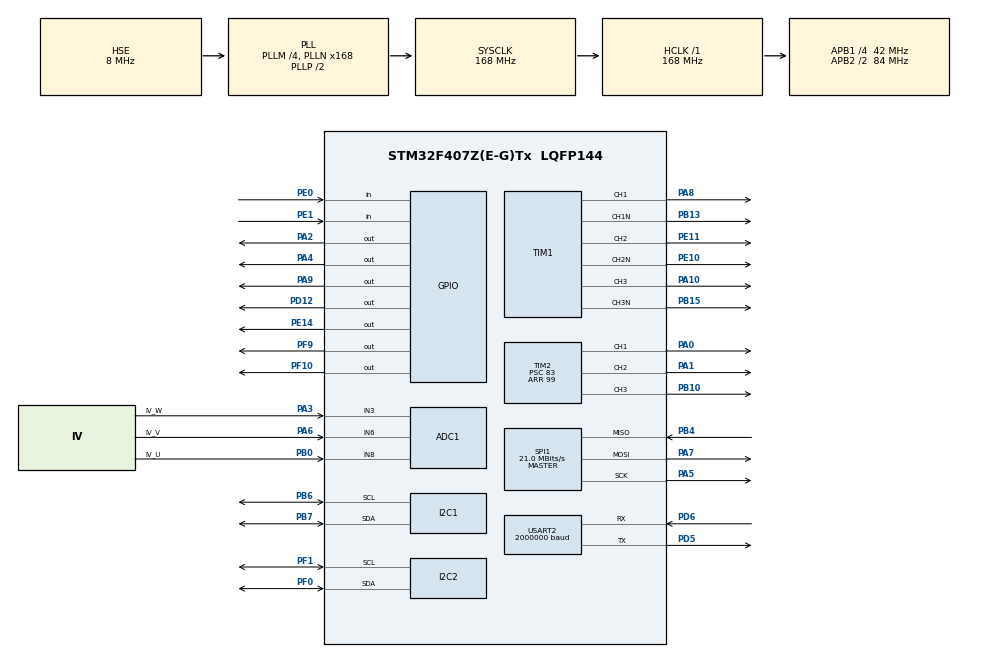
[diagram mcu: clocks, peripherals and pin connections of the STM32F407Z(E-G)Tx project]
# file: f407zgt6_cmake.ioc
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ADC1.Channel-0\#ChannelRegularConversion=ADC_CHANNEL_3
ADC1.Channel-10\#ChannelInjectedConversion=ADC_CHANNEL_3
ADC1.Channel-15\#ChannelInjectedConversion=ADC_CHANNEL_6
ADC1.Channel-16\#ChannelInjectedConversion=ADC_CHANNEL_8
ADC1.ClockPrescaler=ADC_CLOCK_SYNC_PCLK_DIV4
ADC1.DMAContinuousRequests=DISABLE
ADC1.DiscontinuousConvMode=DISABLE
ADC1.ExternalTrigConv=ADC_SOFTWARE_START
ADC1.ExternalTrigInjecConv=ADC_EXTERNALTRIGINJECCONV_T1_CC4
ADC1.ExternalTrigInjecConvEdge=ADC_EXTERNALTRIGINJECCONVEDGE_FALLING
ADC1.InjNumberOfConversion=3
ADC1.InjectedConvMode=None
ADC1.InjectedOffset-10\#ChannelInjectedConversion=0
ADC1.InjectedOffset-15\#ChannelInjectedConversion=0
ADC1.InjectedOffset-16\#ChannelInjectedConversion=0
ADC1.InjectedRank-10\#ChannelInjectedConversion=1
ADC1.InjectedRank-15\#ChannelInjectedConversion=2
ADC1.InjectedRank-16\#ChannelInjectedConversion=3
ADC1.NbrOfConversion=1
ADC1.NbrOfConversionFlag=1
ADC1.Rank-0\#ChannelRegularConversion=1
ADC1.SamplingTime-0\#ChannelRegularConversion=ADC_SAMPLETIME_3CYCLES
ADC1.SamplingTime-10\#ChannelInjectedConversion=ADC_SAMPLETIME_3CYCLES
ADC1.SamplingTime-15\#ChannelInjectedConversion=ADC_SAMPLETIME_3CYCLES
ADC1.SamplingTime-16\#ChannelInjectedConversion=ADC_SAMPLETIME_3CYCLES
ADC1.ScanConvMode=ENABLE
ADC1.master=1
Dma.Request0=USART2_TX
Dma.USART2_TX.0.Direction=DMA_MEMORY_TO_PERIPH
Dma.USART2_TX.0.FIFOMode=DMA_FIFOMODE_DISABLE
Dma.USART2_TX.0.Instance=DMA1_Stream6
Dma.USART2_TX.0.MemDataAlignment=DMA_MDATAALIGN_BYTE
Dma.USART2_TX.0.MemInc=DMA_MINC_ENABLE
Dma.USART2_TX.0.Mode=DMA_NORMAL
Dma.USART2_TX.0.PeriphDataAlignment=DMA_PDATAALIGN_BYTE
Dma.USART2_TX.0.PeriphInc=DMA_PINC_DISABLE
Dma.USART2_TX.0.Priority=DMA_PRIORITY_LOW
Mcu.Family=STM32F4
Mcu.Name=STM32F407Z(E-G)Tx
Mcu.Package=LQFP144
NVIC.ADC_IRQn=true\:0\:0\:false\:false\:true\:true\:true\:true
NVIC.DMA1_Stream6_IRQn=true\:0\:0\:false\:false\:true\:false\:true\:true
NVIC.PriorityGroup=NVIC_PRIORITYGROUP_4
NVIC.TIM1_BRK_TIM9_IRQn=true\:0\:0\:false\:false\:true\:true\:true\:true
NVIC.TIM1_CC_IRQn=true\:0\:0\:false\:false\:true\:true\:true\:true
NVIC.TIM1_TRG_COM_TIM11_IRQn=true\:0\:0\:false\:false\:true\:true\:true\:true
NVIC.TIM1_UP_TIM10_IRQn=true\:0\:0\:false\:false\:true\:true\:true\:true
NVIC.TIM2_IRQn=true\:0\:0\:false\:false\:true\:true\:true\:true
NVIC.TIM3_IRQn=true\:0\:0\:false\:false\:true\:true\:true\:true
NVIC.TIM8_BRK_TIM12_IRQn=true\:0\:0\:false\:false\:true\:true\:true\:true
NVIC.TIM8_CC_IRQn=true\:0\:0\:false\:false\:true\:true\:true\:true
NVIC.TIM8_TRG_COM_TIM14_IRQn=true\:0\:0\:false\:false\:true\:true\:true\:true
NVIC.TIM8_UP_TIM13_IRQn=true\:0\:0\:false\:false\:true\:true\:true\:true
NVIC.USART2_IRQn=true\:0\:0\:false\:false\:true\:true\:true\:true
PA0-WKUP.Signal=S_TIM2_CH1_ETR
PA1.Signal=S_TIM2_CH2
PA10.Signal=S_TIM1_CH3
PA13.Mode=Serial_Wire
PA13.Signal=SYS_JTMS-SWDIO
PA14.Mode=Serial_Wire
PA14.Signal=SYS_JTCK-SWCLK
PA2.Signal=GPIO_Output
PA3.GPIO_Label=IV_W
PA3.Signal=ADCx_IN3
PA4.Signal=GPIO_Output
PA5.Mode=Full_Duplex_Master
PA5.Signal=SPI1_SCK
PA6.GPIO_Label=IV_V
PA6.Signal=ADCx_IN6
PA7.Mode=Full_Duplex_Master
PA7.Signal=SPI1_MOSI
PA8.Signal=S_TIM1_CH1
PA9.Signal=GPIO_Output
PB0.GPIO_Label=IV_U
PB0.Signal=ADCx_IN8
PB1.Signal=ADCx_IN9
PB10.Signal=S_TIM2_CH3
PB13.Mode=PWM Generation1 CH1 CH1N
PB13.Signal=TIM1_CH1N
PB15.Mode=PWM Generation3 CH3 CH3N
PB15.Signal=TIM1_CH3N
PB4.Mode=Full_Duplex_Master
PB4.Signal=SPI1_MISO
PB6.Mode=I2C
PB6.Signal=I2C1_SCL
PB7.Mode=I2C
PB7.Signal=I2C1_SDA
PD12.Signal=GPIO_Output
PD5.Mode=Asynchronous
PD5.Signal=USART2_TX
PD6.Mode=Asynchronous
PD6.Signal=USART2_RX
PE0.GPIO_PuPd=GPIO_PULLDOWN
PE0.Signal=GPIO_Input
PE1.GPIO_PuPd=GPIO_PULLDOWN
PE1.Signal=GPIO_Input
PE10.Mode=PWM Generation2 CH2 CH2N
PE10.Signal=TIM1_CH2N
PE11.Signal=S_TIM1_CH2
PE14.Signal=GPIO_Output
PF0.Mode=I2C
PF0.Signal=I2C2_SDA
PF1.Mode=I2C
PF1.Signal=I2C2_SCL
PF10.Signal=GPIO_Output
PF9.Signal=GPIO_Output
PH0-OSC_IN.Mode=HSE-External-Oscillator
PH0-OSC_IN.Signal=RCC_OSC_IN
PH1-OSC_OUT.Mode=HSE-External-Oscillator
PH1-OSC_OUT.Signal=RCC_OSC_OUT
ProjectManager.HeapSize=0x200
ProjectManager.StackSize=0x400
ProjectManager.TargetToolchain=CMake
RCC.48MHZClocksFreq_Value=84000000
RCC.AHBFreq_Value=168000000
RCC.APB1CLKDivider=RCC_HCLK_DIV4
RCC.APB1Freq_Value=42000000
RCC.APB1TimFreq_Value=84000000
RCC.APB2CLKDivider=RCC_HCLK_DIV2
RCC.APB2Freq_Value=84000000
RCC.APB2TimFreq_Value=168000000
RCC.CortexFreq_Value=168000000
RCC.HCLKFreq_Value=168000000
RCC.HSE_VALUE=8000000
RCC.HSI_VALUE=16000000
RCC.LSE_VALUE=32768
RCC.PLLM=4
RCC.PLLN=168
RCC.PLLSourceVirtual=RCC_PLLSOURCE_HSE
RCC.SYSCLKFreq_VALUE=168000000
RCC.SYSCLKSource=RCC_SYSCLKSOURCE_PLLCLK
RCC.VCOOutputFreq_Value=336000000
SH.ADCx_IN3.0=ADC1_IN3,IN3
SH.ADCx_IN6.0=ADC1_IN6,IN6
SH.ADCx_IN8.0=ADC1_IN8,IN8
SH.ADCx_IN9.0=ADC1_IN9
SH.S_TIM1_CH1.0=TIM1_CH1,PWM Generation1 CH1 CH1N
SH.S_TIM1_CH2.0=TIM1_CH2,PWM Generation2 CH2 CH2N
SH.S_TIM1_CH3.0=TIM1_CH3,PWM Generation3 CH3 CH3N
SH.S_TIM2_CH1_ETR.0=TIM2_CH1,PWM Generation1 CH1
SH.S_TIM2_CH2.0=TIM2_CH2,PWM Generation2 CH2
SH.S_TIM2_CH3.0=TIM2_CH3,PWM Generation3 CH3
SPI1.BaudRatePrescaler=SPI_BAUDRATEPRESCALER_4
SPI1.CLKPhase=SPI_PHASE_2EDGE
SPI1.CLKPolarity=SPI_POLARITY_HIGH
SPI1.CalculateBaudRate=21.0 MBits/s
SPI1.Direction=SPI_DIRECTION_2LINES
SPI1.Mode=SPI_MODE_MASTER
SPI1.VirtualType=VM_MASTER
TIM1.AutoReloadPreload=TIM_AUTORELOAD_PRELOAD_ENABLE
TIM1.Channel-PWM\ Generation1\ CH1\ CH1N=TIM_CHANNEL_1
TIM1.Channel-PWM\ Generation2\ CH2\ CH2N=TIM_CHANNEL_2
TIM1.Channel-PWM\ Generation3\ CH3\ CH3N=TIM_CHANNEL_3
TIM1.Channel-PWM\ Generation4\ No\ Output=TIM_CHANNEL_4
TIM1.CounterMode=TIM_COUNTERMODE_CENTERALIGNED1
TIM1.DeadTime=100
TIM1.OCMode_PWM-PWM\ Generation1\ CH1\ CH1N=TIM_OCMODE_PWM2
TIM1.OCMode_PWM-PWM\ Generation2\ CH2\ CH2N=TIM_OCMODE_PWM2
TIM1.OCMode_PWM-PWM\ Generation3\ CH3\ CH3N=TIM_OCMODE_PWM2
TIM1.OCMode_PWM-PWM\ Generation4\ No\ Output=TIM_OCMODE_PWM2
TIM1.RepetitionCounter=0
TIM1.TIM_MasterOutputTrigger=TIM_TRGO_OC4REF
TIM2.AutoReloadPreload=TIM_AUTORELOAD_PRELOAD_ENABLE
TIM2.Channel-PWM\ Generation1\ CH1=TIM_CHANNEL_1
TIM2.Channel-PWM\ Generation2\ CH2=TIM_CHANNEL_2
TIM2.Channel-PWM\ Generation3\ CH3=TIM_CHANNEL_3
TIM2.CounterMode=TIM_COUNTERMODE_CENTERALIGNED1
TIM2.OCMode_PWM-PWM\ Generation1\ CH1=TIM_OCMODE_PWM2
TIM2.OCMode_PWM-PWM\ Generation2\ CH2=TIM_OCMODE_PWM2
TIM2.OCMode_PWM-PWM\ Generation3\ CH3=TIM_OCMODE_PWM2
TIM2.Period=99
TIM2.Prescaler=83
TIM2.TIM_MasterOutputTrigger=TIM_TRGO_UPDATE
TIM3.AutoReloadPreload=TIM_AUTORELOAD_PRELOAD_ENABLE
TIM3.Period=999
TIM3.Prescaler=83
TIM3.TIM_MasterOutputTrigger=TIM_TRGO_UPDATE
USART2.BaudRate=2000000
USART2.VirtualMode=VM_ASYNC
VP_TIM1_VS_ClockSourceINT.Mode=Internal
VP_TIM1_VS_no_output4.Mode=PWM Generation4 No Output
VP_TIM2_VS_ClockSourceINT.Mode=Internal
VP_TIM3_VS_ClockSourceINT.Mode=Internal
VP_TIM8_VS_ClockSourceINT.Mode=Internal
board=custom

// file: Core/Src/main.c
/* USER CODE BEGIN Header */
/**
  ******************************************************************************
  * @file           : main.c
  * @brief          : Main program body
  ******************************************************************************
  * @attention
  *
  * Copyright (c) 2025 STMicroelectronics.
  * All rights reserved.
  *
  * This software is licensed under terms that can be found in the LICENSE file
  * in the root directory of this software component.
  * If no LICENSE file comes with this software, it is provided AS-IS.
  *
  ******************************************************************************
  */
/* USER CODE END Header */
#include "main.h"
#include "adc.h"
#include "dma.h"
#include "i2c.h"
#include "spi.h"
#include "tim.h"
#include "usart.h"
#include "gpio.h"

/* USER CODE BEGIN Includes */
#include <stdio.h>
#include "SEGGER_RTT.h"
/* USER CODE END Includes */

/* USER CODE BEGIN PD */
char buff[4096];
typedef struct val
{
    // unsigned int t;
    int va1;
    int va2;
}val_t;

typedef struct g_motorVar0 g_motorVar0;
struct g_motorVar0
{
    unsigned int t;
    int target;
    int velocity;
    // float ia, ib;
};
char JS_RTT_Buffer0[4096];
g_motorVar0 g_motorVar01;

static void SEGGER_RTT_Config0(void)
{
    SEGGER_RTT_ConfigUpBuffer(1, "JScope_T4I4I4", &JS_RTT_Buffer0[0], sizeof(JS_RTT_Buffer0), SEGGER_RTT_MODE_BLOCK_IF_FIFO_FULL);
}

/* USER CODE END PD */

void SystemClock_Config(void);

/* USER CODE BEGIN 0 */
extern void test_main(void);

/* USER CODE END 0 */

int main(void)
{

  /* MCU Configuration--------------------------------------------------------*/

  /* Reset of all peripherals, Initializes the Flash interface and the Systick. */
  HAL_Init();

  /* Configure the system clock */
  SystemClock_Config();

  /* Initialize all configured peripherals */
  MX_GPIO_Init();
  MX_DMA_Init();
  MX_USART2_UART_Init();
  MX_ADC1_Init();
  MX_I2C1_Init();
  MX_TIM1_Init();
  MX_TIM8_Init();
  MX_I2C2_Init();
  MX_SPI1_Init();
  MX_TIM3_Init();
  MX_TIM2_Init();
  /* USER CODE BEGIN 2 */

    // val_t test1;
    // test1.va1 = 0;
    // test1.va2 = 0;
    // SEGGER_RTT_ConfigUpBuffer(1, "JScope_I4I4", &buff[0], sizeof(buff), SEGGER_RTT_MODE_BLOCK_IF_FIFO_FULL);
    // while (1)
    // {
    //     test1.va1++;
    //     test1.va2--;
    //     if (test1.va1 > 1000|| test1.va2 < -1000)
    //     {
    //         test1.va1 = 0;
    //         test1.va2 = 0;
    //     }
    //     SEGGER_RTT_Write(1, &test1, sizeof(test1));
    // }

    //2.
    // unsigned int js_t = 0;
    // val_t test2;
    // test2.va1 = 0;
    // test2.va2 = 0;
    // SEGGER_RTT_ConfigUpBuffer(1, "JScope_I4I4", &buff[0], sizeof(buff), SEGGER_RTT_MODE_BLOCK_IF_FIFO_FULL);
    // // test2.t = 0;
    // while (1)
    // {
    //     js_t++;
    //     test2.va1++;
    //     test2.va2--;
    //     if (test2.va1 > 1000|| test2.va2 < -1000)
    //     {
    //         test2.va1 = 0;
    //         test2.va2 = 0;
    //     }
    //     SEGGER_RTT_Write(1, &test2, sizeof(test2));
    //     // SEGGER_RTT_Write(0, &g_motorVar01, sizeof(g_motorVar01));
    //
    // }
    test_main();

  /* USER CODE END 2 */

  /* Infinite loop */
  while (1)
  {

    /* USER CODE BEGIN 3 */
      HAL_GPIO_TogglePin(GPIOF, GPIO_PIN_9);
      printf("hello motor cmake\n");
      HAL_Delay(500);
  }
  /* USER CODE END 3 */
}

void SystemClock_Config(void)
{
  RCC_OscInitTypeDef RCC_OscInitStruct = {0};
  RCC_ClkInitTypeDef RCC_ClkInitStruct = {0};

  /** Configure the main internal regulator output voltage
  */
  __HAL_RCC_PWR_CLK_ENABLE();
  __HAL_PWR_VOLTAGESCALING_CONFIG(PWR_REGULATOR_VOLTAGE_SCALE1);

  /** Initializes the RCC Oscillators according to the specified parameters
  * in the RCC_OscInitTypeDef structure.
  */
  RCC_OscInitStruct.OscillatorType = RCC_OSCILLATORTYPE_HSE;
  RCC_OscInitStruct.HSEState = RCC_HSE_ON;
  RCC_OscInitStruct.PLL.PLLState = RCC_PLL_ON;
  RCC_OscInitStruct.PLL.PLLSource = RCC_PLLSOURCE_HSE;
  RCC_OscInitStruct.PLL.PLLM = 4;
  RCC_OscInitStruct.PLL.PLLN = 168;
  RCC_OscInitStruct.PLL.PLLP = RCC_PLLP_DIV2;
  RCC_OscInitStruct.PLL.PLLQ = 4;
  if (HAL_RCC_OscConfig(&RCC_OscInitStruct) != HAL_OK)
  {
    Error_Handler();
  }

  /** Initializes the CPU, AHB and APB buses clocks
  */
  RCC_ClkInitStruct.ClockType = RCC_CLOCKTYPE_HCLK|RCC_CLOCKTYPE_SYSCLK
                              |RCC_CLOCKTYPE_PCLK1|RCC_CLOCKTYPE_PCLK2;
  RCC_ClkInitStruct.SYSCLKSource = RCC_SYSCLKSOURCE_PLLCLK;
  RCC_ClkInitStruct.AHBCLKDivider = RCC_SYSCLK_DIV1;
  RCC_ClkInitStruct.APB1CLKDivider = RCC_HCLK_DIV4;
  RCC_ClkInitStruct.APB2CLKDivider = RCC_HCLK_DIV2;

  if (HAL_RCC_ClockConfig(&RCC_ClkInitStruct, FLASH_LATENCY_5) != HAL_OK)
  {
    Error_Handler();
  }
}

void Error_Handler(void)
{
  __disable_irq();
  while (1)
  {
  }
}
